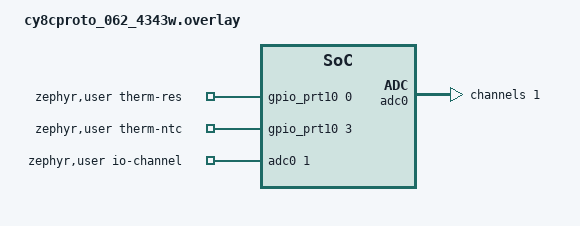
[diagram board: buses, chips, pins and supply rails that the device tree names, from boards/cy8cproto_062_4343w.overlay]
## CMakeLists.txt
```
# SPDX-License-Identifier: Apache-2.0

cmake_minimum_required(VERSION 3.20.0)

# Locates the Zephyr CMake package registered by `west zephyr-export`
# (or uses ZEPHYR_BASE, which west sets automatically during `west build`).
find_package(Zephyr REQUIRED HINTS $ENV{ZEPHYR_BASE})
project(rtos_blinky)

target_sources(app PRIVATE
  src/main.c
  src/thermistor.c
  src/app_settings.c
  src/app_watchdog.c
  src/channels.c
  src/led_ctrl.c
  src/temp_monitor.c
  src/ble_beacon.c
  src/capsense_input.c
)

# ---- CapSense -----------------------------------------------------------------
# Infineon CapSense middleware (Infineon EULA, not committed): cloned once into
# the west workspace's modules/ folder, next to the other fetched code.
set(CAPSENSE_VERSION release-v3.0.1)
get_filename_component(WEST_WORKSPACE ${ZEPHYR_BASE} DIRECTORY)
set(CAPSENSE_DIR ${WEST_WORKSPACE}/modules/lib/capsense)

if(NOT EXISTS ${CAPSENSE_DIR}/cy_capsense.h)
  message(STATUS "Fetching Infineon CapSense middleware ${CAPSENSE_VERSION}")
  execute_process(
    COMMAND git clone --depth 1 --branch ${CAPSENSE_VERSION}
            https://github.com/Infineon/capsense ${CAPSENSE_DIR}
    RESULT_VARIABLE capsense_clone_result)
  if(NOT capsense_clone_result EQUAL 0)
    message(FATAL_ERROR "Could not clone the CapSense middleware into ${CAPSENSE_DIR}")
  endif()
endif()

file(GLOB CAPSENSE_SOURCES ${CAPSENSE_DIR}/*.c)
set(CAPSENSE_THIRD_PARTY_SOURCES
  ${CAPSENSE_SOURCES}
  capsense/cycfg_capsense.c
  # PDL driver for the CSD hardware block; the HAL module doesn't build it.
  ${ZEPHYR_HAL_INFINEON_MODULE_DIR}/mtb-pdl-cat1/drivers/source/cy_csd.c
)
target_sources(app PRIVATE ${CAPSENSE_THIRD_PARTY_SOURCES})
target_include_directories(app PRIVATE capsense ${CAPSENSE_DIR})

# Closed-source parts (SmartSense auto-tuning, advanced filters). The SOFTFP
# build is plain Armv6-M code with no FPU instructions, matching our build.
zephyr_link_libraries(${CAPSENSE_DIR}/COMPONENT_SOFTFP/TOOLCHAIN_GCC_ARM/libcy_capsense.a)
```

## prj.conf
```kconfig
# Kconfig fragment: selects which kernel features/drivers get compiled in.
# Inspect the fully resolved config with: west build -t menuconfig

# GPIO driver for the LED and the user button
CONFIG_GPIO=y

# Logging subsystem (output goes to the console UART, COM port @ 115200 8N1)
CONFIG_LOG=y

# Give threads human-readable names (useful in logs and debuggers)
CONFIG_THREAD_NAME=y

# Interactive shell on the console UART. Adds built-in commands (help,
# kernel threads, kernel uptime, log, ...) plus our "blink" command.
# Log messages are routed through the shell so they don't break the prompt.
CONFIG_SHELL=y

# Hardware watchdog (fed by the blink thread)
CONFIG_WATCHDOG=y

# ADC driver for the onboard thermistor (channel defined in boards/*.overlay)
CONFIG_ADC=y

# Counter driver: TCPWM hardware timer that paces thermistor sampling
CONFIG_COUNTER=y

# zbus message bus: thermistor publishes on temp_chan, others observe.
# Names and publish counters are only for the "bus" shell command.
CONFIG_ZBUS=y
CONFIG_ZBUS_CHANNEL_NAME=y
CONFIG_ZBUS_OBSERVER_NAME=y
CONFIG_ZBUS_CHANNEL_PUBLISH_STATS=y

# State Machine Framework for the LED controller: hierarchical states
# (parent/child) and initial transitions into a parent's default child.
CONFIG_SMF=y
CONFIG_SMF_ANCESTOR_SUPPORT=y
CONFIG_SMF_INITIAL_TRANSITION=y

# Bluetooth LE host: broadcaster (beacon) + peripheral (one GATT connection).
# The board defaults pick the CYW4343W / Murata 1DX controller over HCI UART
# and embed its firmware patch.
CONFIG_BT=y
CONFIG_BT_BROADCASTER=y
CONFIG_BT_PERIPHERAL=y
CONFIG_BT_MAX_CONN=1
# GAP Device Name characteristic, read by phones after connecting
CONFIG_BT_DEVICE_NAME="PSoC6 Temp"
CONFIG_BT_CENTRAL=n
CONFIG_BT_OBSERVER=n

# Persistent settings: Settings subsystem -> ZMS -> flash map -> flash driver.
# PSoC 6 flash writes whole 512-byte rows, so ZMS needs a 512-byte internal
# block (default 32) and sectors of 8 rows (4 KB) to fit its bookkeeping.
CONFIG_FLASH=y
CONFIG_FLASH_MAP=y
CONFIG_ZMS=y
CONFIG_ZMS_CUSTOMIZE_BLOCK_SIZE=y
CONFIG_ZMS_CUSTOM_BLOCK_SIZE=512
CONFIG_SETTINGS=y
CONFIG_SETTINGS_ZMS=y
CONFIG_SETTINGS_ZMS_SECTOR_SIZE_MULT=8
# "settings list/read/write/delete" shell commands
CONFIG_SETTINGS_SHELL=y

# ZMS keeps 512-byte buffers on the stack of whichever thread calls it:
# main (settings_load), the system work queue (saves) and the shell.
CONFIG_MAIN_STACK_SIZE=2048
CONFIG_SYSTEM_WORKQUEUE_STACK_SIZE=2048
CONFIG_SHELL_STACK_SIZE=3072

# Emit the kernel-structure offsets table that OpenOCD's Zephyr RTOS
# awareness reads, so the debugger can list every thread and its stack.
CONFIG_DEBUG_THREAD_INFO=y
```

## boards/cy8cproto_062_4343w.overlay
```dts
/*
 * Board overlay for the CY8CPROTO-062-4343W: onboard thermistor (RT1) and a
 * flash partition for persistent settings.
 *
 * Kit guide schematic (Figure A-11):
 *
 *   P10.0 ---[ R39 10k ]---+---[ RT1 NTC 10k ]--- P10.3
 *                          |
 *                      THERM_OUT -> P10.1 (ADC0 channel 1)
 *
 * Both ends of the divider are GPIOs, so the app powers the divider only
 * while measuring and can swap its polarity (see src/thermistor.c).
 *
 * SPDX-License-Identifier: Apache-2.0
 */

#include <zephyr/dt-bindings/adc/adc.h>

/ {
	chosen {
		/* Where the Settings subsystem (ZMS backend) keeps its data. */
		zephyr,settings-partition = &storage_partition;
	};

	/* zephyr,user is a free-form node for application-specific properties. */
	zephyr,user {
		io-channels = <&adc0 1>;
		therm-res-gpios = <&gpio_prt10 0 GPIO_ACTIVE_HIGH>;
		therm-ntc-gpios = <&gpio_prt10 3 GPIO_ACTIVE_HIGH>;
		/* Hardware timer that paces thermistor sampling. */
		sample-counter = <&counter0_0>;
	};
};

/* TCPWM0 counter 0 (already enabled by the board): tick at 1 MHz so one
 * tick = 1 us. 32 bits at 1 MHz wraps after ~71 minutes, plenty for 1 s.
 */
&counter0_0 {
	clock-frequency = <1000000>;
};

/*
 * Last 32 KB of the 2 MB main flash, reserved for persistent settings.
 * (The separate 32 KB work flash at 0x14000000 isn't reachable: the Infineon
 * flash driver only exposes the first flash node.) Erase/write unit is a
 * 512-byte row, so 0x8000 = 64 rows.
 */
&flash0 {
	partitions {
		compatible = "fixed-partitions";
		#address-cells = <1>;
		#size-cells = <1>;

		storage_partition: partition@1f8000 {
			label = "storage";
			reg = <0x1f8000 DT_SIZE_K(32)>;
		};
	};
};

&gpio_prt10 {
	status = "okay";
};

&adc0 {
	status = "okay";
	#address-cells = <1>;
	#size-cells = <0>;

	/* The Infineon driver only supports gain 1, the internal reference and 12 bits. */
	channel@1 {
		reg = <1>;
		zephyr,gain = "ADC_GAIN_1";
		zephyr,reference = "ADC_REF_INTERNAL";
		zephyr,acquisition-time = <ADC_ACQ_TIME_DEFAULT>;
		zephyr,resolution = <12>;
		zephyr,input-positive = <1>; /* P10.1 */
	};
};
```

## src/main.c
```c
/*
 * RTOS blinky for the CY8CPROTO-062-4343W.
 *
 * Modules:
 * - led_ctrl.c:     LED state machine (SMF): temperature modes / manual mode.
 * - thermistor.c:   samples RT1 once per second (hardware counter) and
 *                   publishes on the zbus temp_chan.
 * - temp_monitor.c: zbus observers for logging and min/max/avg statistics.
 * - app_settings.c: blink period and thresholds persisted in flash.
 * - app_watchdog.c: hardware watchdog, fed by the LED thread.
 * - main.c (here):  startup, SW0 button thread and the "blink" shell command.
 *
 * SPDX-License-Identifier: Apache-2.0
 */

#include <errno.h>
#include <zephyr/kernel.h>
#include <zephyr/drivers/gpio.h>
#include <zephyr/logging/log.h>
#include <zephyr/shell/shell.h>

#include "app_settings.h"
#include "app_watchdog.h"
#include "led_ctrl.h"
#include "thermistor.h"

LOG_MODULE_REGISTER(rtos_blinky, LOG_LEVEL_INF);

/* Pins come from the board devicetree aliases, not hard-coded port/pin numbers. */
static const struct gpio_dt_spec button = GPIO_DT_SPEC_GET(DT_ALIAS(sw0), gpios);

#define BUTTON_PRIORITY 5 /* lower number = higher priority */
#define STACK_SIZE      1024
#define DEBOUNCE_MS     50

static const uint32_t preset_periods_ms[] = {500, 250, 100, 1000};

/* Binary semaphore (max count 1) used to signal "button pressed" from ISR to thread. */
static K_SEM_DEFINE(button_sem, 0, 1);
static struct gpio_callback button_cb_data;

static void button_isr(const struct device *dev, struct gpio_callback *cb, uint32_t pins)
{
	ARG_UNUSED(dev);
	ARG_UNUSED(cb);
	ARG_UNUSED(pins);

	/* Keep ISRs short: just wake the thread that does the real work. */
	k_sem_give(&button_sem);
}

static void button_thread(void *p1, void *p2, void *p3)
{
	ARG_UNUSED(p1);
	ARG_UNUSED(p2);
	ARG_UNUSED(p3);

	size_t idx = 0;

	while (true) {
		k_sem_take(&button_sem, K_FOREVER);

		/* Mechanical buttons bounce: wait, then confirm it is still pressed. */
		k_msleep(DEBOUNCE_MS);
		if (gpio_pin_get_dt(&button) == 1) {
			idx = (idx + 1) % ARRAY_SIZE(preset_periods_ms);
			LOG_INF("Button pressed -> requesting %u ms", preset_periods_ms[idx]);
			if (led_ctrl_request_period(preset_periods_ms[idx]) != 0) {
				LOG_WRN("LED event queue full, press ignored");
			}
		}

		/* Discard extra gives caused by bounce edges during the debounce window. */
		k_sem_reset(&button_sem);
	}
}

/* Created but not started (SYS_FOREVER_MS); main() starts it once the GPIO is set up. */
K_THREAD_DEFINE(button_tid, STACK_SIZE, button_thread, NULL, NULL, NULL,
		BUTTON_PRIORITY, 0, SYS_FOREVER_MS);

/* Shell handler: runs in the shell's own thread when "blink set <ms>" is entered. */
static int cmd_blink_set(const struct shell *sh, size_t argc, char **argv)
{
	ARG_UNUSED(argc); /* the shell already enforced exactly 1 argument */

	int err = 0;
	unsigned long period_ms = shell_strtoul(argv[1], 10, &err);

	if (err != 0 || period_ms < APP_PERIOD_MIN_MS || period_ms > APP_PERIOD_MAX_MS) {
		shell_error(sh, "Period must be a number from %d to %d (ms)",
			    APP_PERIOD_MIN_MS, APP_PERIOD_MAX_MS);
		return -EINVAL;
	}

	if (led_ctrl_request_period((uint32_t)period_ms) != 0) {
		shell_error(sh, "LED event queue full, try again");
		return -EBUSY;
	}

	return 0;
}

/*
 * Register "blink" as a root command with one subcommand, "set".
 * SHELL_CMD_ARG(..., 2, 0): 2 mandatory args (the "set" token + <ms>), 0 optional.
 */
SHELL_STATIC_SUBCMD_SET_CREATE(blink_cmds,
	SHELL_CMD_ARG(set, NULL, "Set the manual-mode blink period: blink set <ms>", cmd_blink_set, 2, 0),
	SHELL_SUBCMD_SET_END);
SHELL_CMD_REGISTER(blink, &blink_cmds, "Control the LED blink rate", NULL);

static int button_init(void)
{
	if (!gpio_is_ready_dt(&button)) {
		return -ENODEV;
	}

	int ret = gpio_pin_configure_dt(&button, GPIO_INPUT);

	if (ret == 0) {
		ret = gpio_pin_interrupt_configure_dt(&button, GPIO_INT_EDGE_TO_ACTIVE);
	}
	if (ret == 0) {
		gpio_init_callback(&button_cb_data, button_isr, BIT(button.pin));
		ret = gpio_add_callback(button.port, &button_cb_data);
	}
	if (ret == 0) {
		k_thread_start(button_tid);
	}
	return ret;
}

int main(void)
{
	int ret;

	LOG_INF("RTOS blinky on %s", CONFIG_BOARD);
	app_watchdog_report_reset_cause();

	/* Load saved settings before starting the threads that use them. */
	ret = app_settings_init();
	if (ret < 0) {
		LOG_ERR("Settings unavailable (%d), using defaults", ret);
	}

	/* Start the watchdog just before the thread that feeds it. */
	app_watchdog_start();
	ret = led_ctrl_start();
	if (ret < 0) {
		LOG_ERR("LED controller failed (%d)", ret);
	}

	ret = button_init();
	if (ret < 0) {
		LOG_ERR("Button setup failed (%d)", ret);
	}

	ret = thermistor_init();
	if (ret < 0) {
		LOG_ERR("Thermistor init failed (%d)", ret);
	}

	LOG_INF("Started. Try 'led', 'led mode manual', 'blink set <ms>', 'temp'.");

	/* Returning from main() just ends the main thread; the others keep running. */
	return 0;
}
```

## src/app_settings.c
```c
/*
 * Persistent application settings.
 *
 * Keys live under the "app/" subtree: app/period, app/cold, app/hot.
 * Backend: ZMS on the storage_partition (see boards/cy8cproto_062_4343w.overlay).
 *
 * SPDX-License-Identifier: Apache-2.0
 */

#include <errno.h>
#include <stdlib.h>
#include <zephyr/kernel.h>
#include <zephyr/logging/log.h>
#include <zephyr/settings/settings.h>
#include <zephyr/sys/atomic.h>

#include "app_settings.h"

LOG_MODULE_REGISTER(app_settings, LOG_LEVEL_INF);

#define DEFAULT_PERIOD_MS   500
#define DEFAULT_COLD_CENTI  1800
#define DEFAULT_HOT_CENTI   2800
#define TEMP_MIN_CENTI      (-2000)
#define TEMP_MAX_CENTI      8000
#define MIN_GAP_CENTI       200 /* keeps cold/hot apart by more than the hysteresis */
#define SAVE_DELAY          K_SECONDS(2)

/* Read by several threads, written by setters and the loader: atomics, no lock needed. */
static atomic_t period_ms = ATOMIC_INIT(DEFAULT_PERIOD_MS);
static atomic_t cold_centi = ATOMIC_INIT(DEFAULT_COLD_CENTI);
static atomic_t hot_centi = ATOMIC_INIT(DEFAULT_HOT_CENTI);

enum { DIRTY_PERIOD, DIRTY_THRESHOLDS };
static atomic_t dirty;

static bool period_valid(uint32_t v)
{
	return v >= APP_PERIOD_MIN_MS && v <= APP_PERIOD_MAX_MS;
}

static bool thresholds_valid(int32_t cold, int32_t hot)
{
	return cold >= TEMP_MIN_CENTI && hot <= TEMP_MAX_CENTI && hot - cold >= MIN_GAP_CENTI;
}

/*
 * Called by settings_load() once per stored key in the "app" subtree.
 * `name` is the key with the "app/" prefix already removed.
 */
static int app_settings_set(const char *name, size_t len, settings_read_cb read_cb, void *cb_arg)
{
	const char *next;
	int32_t value;
	int rc;

	if (len != sizeof(value)) {
		return -EINVAL;
	}
	rc = read_cb(cb_arg, &value, sizeof(value));
	if (rc < 0) {
		return rc;
	}

	if (settings_name_steq(name, "period", &next) && !next) {
		if (period_valid((uint32_t)value)) {
			atomic_set(&period_ms, value);
		}
	} else if (settings_name_steq(name, "cold", &next) && !next) {
		atomic_set(&cold_centi, value);
	} else if (settings_name_steq(name, "hot", &next) && !next) {
		atomic_set(&hot_centi, value);
	} else {
		return -ENOENT;
	}
	return 0;
}

/* Registers the "app" subtree handler at build time (no runtime call needed). */
SETTINGS_STATIC_HANDLER_DEFINE(app, "app", NULL, app_settings_set, NULL, NULL);

/* Runs on the system work queue: the only place that writes flash. */
static void save_work_handler(struct k_work *work)
{
	ARG_UNUSED(work);
	int rc = 0;

	if (atomic_test_and_clear_bit(&dirty, DIRTY_PERIOD)) {
		int32_t v = atomic_get(&period_ms);

		rc = settings_save_one("app/period", &v, sizeof(v));
	}
	if (rc == 0 && atomic_test_and_clear_bit(&dirty, DIRTY_THRESHOLDS)) {
		int32_t cold = atomic_get(&cold_centi);
		int32_t hot = atomic_get(&hot_centi);

		rc = settings_save_one("app/cold", &cold, sizeof(cold));
		if (rc == 0) {
			rc = settings_save_one("app/hot", &hot, sizeof(hot));
		}
	}

	if (rc != 0) {
		LOG_ERR("Saving settings failed (%d)", rc);
	} else {
		LOG_INF("Settings saved");
	}
}

static K_WORK_DELAYABLE_DEFINE(save_work, save_work_handler);

static void schedule_save(int dirty_bit)
{
	atomic_set_bit(&dirty, dirty_bit);
	/* Reschedule (not schedule): every new change pushes the save out again. */
	k_work_reschedule(&save_work, SAVE_DELAY);
}

int app_settings_init(void)
{
	int rc = settings_subsys_init();

	if (rc != 0) {
		LOG_ERR("Settings init failed (%d)", rc);
		return rc;
	}

	rc = settings_load_subtree("app");
	if (rc != 0) {
		LOG_ERR("Settings load failed (%d)", rc);
		return rc;
	}

	if (!thresholds_valid(atomic_get(&cold_centi), atomic_get(&hot_centi))) {
		LOG_WRN("Stored thresholds invalid, using defaults");
		atomic_set(&cold_centi, DEFAULT_COLD_CENTI);
		atomic_set(&hot_centi, DEFAULT_HOT_CENTI);
	}

	LOG_INF("Loaded: period %u ms, cold %d.%02d C, hot %d.%02d C",
		(uint32_t)atomic_get(&period_ms), (int)atomic_get(&cold_centi) / 100,
		abs((int)atomic_get(&cold_centi)) % 100, (int)atomic_get(&hot_centi) / 100,
		abs((int)atomic_get(&hot_centi)) % 100);
	return 0;
}

uint32_t app_settings_period_ms(void)
{
	return (uint32_t)atomic_get(&period_ms);
}

int32_t app_settings_cold_centi(void)
{
	return (int32_t)atomic_get(&cold_centi);
}

int32_t app_settings_hot_centi(void)
{
	return (int32_t)atomic_get(&hot_centi);
}

int app_settings_set_period_ms(uint32_t v)
{
	if (!period_valid(v)) {
		return -EINVAL;
	}
	if ((uint32_t)atomic_set(&period_ms, v) != v) {
		schedule_save(DIRTY_PERIOD);
	}
	return 0;
}

int app_settings_set_thresholds_centi(int32_t cold, int32_t hot)
{
	if (!thresholds_valid(cold, hot)) {
		return -EINVAL;
	}
	atomic_set(&cold_centi, cold);
	atomic_set(&hot_centi, hot);
	schedule_save(DIRTY_THRESHOLDS);
	return 0;
}
```

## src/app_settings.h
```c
/*
 * Persistent application settings (blink period, temperature thresholds),
 * stored in flash through the Zephyr Settings subsystem.
 *
 * SPDX-License-Identifier: Apache-2.0
 */

#ifndef APP_SETTINGS_H_
#define APP_SETTINGS_H_

#include <stdint.h>

#define APP_PERIOD_MIN_MS 10
/* The blink thread feeds the watchdog once per loop, so its longest wait
 * (one blink period) must stay well below the watchdog timeout.
 */
#define APP_PERIOD_MAX_MS 2000

/** Initialize the Settings subsystem and load saved values (or defaults). */
int app_settings_init(void);

uint32_t app_settings_period_ms(void);
/** Thresholds in hundredths of a degree C (1800 = 18.00 C). */
int32_t app_settings_cold_centi(void);
int32_t app_settings_hot_centi(void);

/*
 * Setters update the value immediately and schedule a save a couple of
 * seconds later, so a burst of changes costs a single flash write.
 */
int app_settings_set_period_ms(uint32_t period_ms);
int app_settings_set_thresholds_centi(int32_t cold, int32_t hot);

#endif /* APP_SETTINGS_H_ */
```

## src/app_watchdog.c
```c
/*
 * Hardware watchdog and reset-cause reporting.
 *
 * SPDX-License-Identifier: Apache-2.0
 */

#include <zephyr/kernel.h>
#include <zephyr/drivers/watchdog.h>
#include <zephyr/logging/log.h>
#include <cmsis_core.h>
#include <cy_syslib.h>

#include "app_watchdog.h"

LOG_MODULE_REGISTER(app_watchdog, LOG_LEVEL_INF);

static const struct device *const wdt = DEVICE_DT_GET(DT_ALIAS(watchdog0));
static int wdt_channel = -1; /* -1: watchdog not running */

void app_watchdog_report_reset_cause(void)
{
	/* Zephyr's hwinfo reset-cause API isn't implemented for PSoC 6 in this tree,
	 * so read the SRSS reset-cause register through the Infineon PDL directly.
	 */
	uint32_t reason = Cy_SysLib_GetResetReason();

	if (reason & CY_SYSLIB_RESET_HWWDT) {
		LOG_WRN("Last reset was caused by the WATCHDOG");
	} else {
		LOG_INF("Reset cause: 0x%08x", reason);
	}
	/* Clear it so the next boot reports its own cause, not this one. */
	Cy_SysLib_ClearResetReason();
}

void app_watchdog_start(void)
{
	/* The PSoC 6 WDT keeps counting while the CPU is halted at a breakpoint,
	 * so leave it off while debug is enabled (DHCSR.C_DEBUGEN). Only the
	 * debugger can set this bit and software can't clear it; a soft reset
	 * (e.g. after flashing) keeps it, an XRES (RESET button) or power cycle clears it.
	 */
	if (DCB->DHCSR & DCB_DHCSR_C_DEBUGEN_Msk) {
		LOG_WRN("Debug enabled: watchdog not started. Press RESET (SW1) to arm it.");
		return;
	}

	if (!device_is_ready(wdt)) {
		LOG_ERR("Watchdog device not ready");
		return;
	}

	const struct wdt_timeout_cfg cfg = {
		.window.max = APP_WDT_TIMEOUT_MS,
		.flags = WDT_FLAG_RESET_SOC,
	};
	int channel = wdt_install_timeout(wdt, &cfg);

	if (channel < 0) {
		LOG_ERR("Watchdog install failed (%d)", channel);
		return;
	}

	int ret = wdt_setup(wdt, 0);

	if (ret < 0) {
		LOG_ERR("Watchdog setup failed (%d)", ret);
		return;
	}

	wdt_channel = channel;
	LOG_INF("Watchdog started (%d ms timeout)", APP_WDT_TIMEOUT_MS);
}

void app_watchdog_feed(void)
{
	if (wdt_channel >= 0) {
		wdt_feed(wdt, wdt_channel);
	}
}
```

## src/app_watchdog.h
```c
/*
 * Hardware watchdog and reset-cause reporting.
 *
 * SPDX-License-Identifier: Apache-2.0
 */

#ifndef APP_WATCHDOG_H_
#define APP_WATCHDOG_H_

#define APP_WDT_TIMEOUT_MS 4000

/** Log why the chip last reset (e.g. watchdog), then clear the cause. */
void app_watchdog_report_reset_cause(void);

/** Start the watchdog unless a debugger has enabled debug mode. */
void app_watchdog_start(void);

/** Feed the watchdog. A no-op if it isn't running. */
void app_watchdog_feed(void);

#endif /* APP_WATCHDOG_H_ */
```

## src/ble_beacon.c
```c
/*
 * BLE temperature beacon + GATT Environmental Sensing service on the CYW4343W
 * radio (Murata 1DX module).
 *
 * The PSoC 6 runs the Zephyr Bluetooth host; the CYW4343W is the controller,
 * connected over UART2 using the HCI H4 protocol. bt_enable() first downloads
 * the controller firmware patch (bt_firmware.hcd, embedded in our image).
 *
 * Advertising: connectable, legacy, ~100-150 ms interval, containing
 *   - Complete Local Name "PSoC6 21.34C" (readable straight from a scanner list)
 *   - Service Data for Environmental Sensing (0x181A): sint16 temperature in
 *     0.01 C, the same encoding as the GATT Temperature characteristic (0x2A6E)
 *
 * GATT (after connecting): Environmental Sensing service with a Temperature
 * characteristic (read + notify). Apps such as nRF Connect know this
 * standard characteristic and show it decoded in degrees C.
 * A custom LED service adds the current blink period (uint16, ms) and a text
 * status, both notified whenever the LED controller publishes on led_chan.
 *
 * Only one connection is allowed. Connectable advertising stops when a
 * central connects; this thread restarts it after the disconnect.
 *
 * SPDX-License-Identifier: Apache-2.0
 */

#include <string.h>
#include <zephyr/kernel.h>
#include <zephyr/bluetooth/bluetooth.h>
#include <zephyr/bluetooth/conn.h>
#include <zephyr/bluetooth/gap.h>
#include <zephyr/bluetooth/gatt.h>
#include <zephyr/bluetooth/uuid.h>
#include <zephyr/logging/log.h>
#include <zephyr/shell/shell.h>
#include <zephyr/sys/byteorder.h>
#include <zephyr/zbus/zbus.h>

#include "channels.h"

LOG_MODULE_REGISTER(ble_beacon, LOG_LEVEL_INF);

#define BLE_PRIORITY   9
#define BLE_STACK_SIZE 2048
#define NAME_PREFIX    "PSoC6"
#define TEMP_UNKNOWN   ((int16_t)0x8000) /* "value not known" for 0x2A6E */

/* Service data payload: 16-bit UUID (little endian) followed by the value. */
static uint8_t svc_data[4] = {BT_UUID_16_ENCODE(BT_UUID_ESS_VAL), 0x00, 0x00};
/* Sized for the worst case the compiler can see; the real name is <= 13 chars,
 * well within the 31-byte legacy advertising payload.
 */
static char name[32];

/* Not const: the name length changes with every update. */
static struct bt_data ad[] = {
	BT_DATA_BYTES(BT_DATA_FLAGS, (BT_LE_AD_GENERAL | BT_LE_AD_NO_BREDR)),
	BT_DATA(BT_DATA_NAME_COMPLETE, name, 0),
	BT_DATA(BT_DATA_SVC_DATA16, svc_data, sizeof(svc_data)),
};

/* Connectable, from the public (identity) address so nRF Connect shows the same
 * device after every reboot. 0xa0-0xf0 units of 0.625 ms = 100-150 ms.
 */
static const struct bt_le_adv_param *const adv_param =
	BT_LE_ADV_PARAM(BT_LE_ADV_OPT_CONN | BT_LE_ADV_OPT_USE_IDENTITY,
			BT_GAP_ADV_FAST_INT_MIN_2, BT_GAP_ADV_FAST_INT_MAX_2, NULL);

/*
 * Subscriber, not listener: bt_le_adv_update_data() sends HCI commands and
 * blocks for the controller's reply, which must not happen inside the
 * publisher (the system work queue). Starts disabled so its queue doesn't
 * fill up while bt_enable() is still downloading firmware.
 */
ZBUS_SUBSCRIBER_DEFINE_WITH_ENABLE(ble_sub, 4, false);
ZBUS_CHAN_ADD_OBS(temp_chan, ble_sub, 4);
/* LED status changes (mode, state, slider) are pushed out as GATT notifications. */
ZBUS_CHAN_ADD_OBS(led_chan, ble_sub, 1);

static atomic_t adv_updates;
static atomic_t adv_running;
static atomic_t adv_centi = ATOMIC_INIT(INT32_MIN);
static atomic_t connected;
static atomic_t notify_enabled;
static atomic_t notifications_sent;
static atomic_t period_notify_enabled;
static atomic_t status_notify_enabled;

/* ---- GATT: Environmental Sensing service --------------------------------- */

/* Current Temperature characteristic value, little endian sint16, 0.01 C. */
static int16_t gatt_temp = TEMP_UNKNOWN;

static ssize_t read_temp(struct bt_conn *conn, const struct bt_gatt_attr *attr, void *buf,
			 uint16_t len, uint16_t offset)
{
	uint8_t le[2];

	sys_put_le16((uint16_t)gatt_temp, le);
	return bt_gatt_attr_read(conn, attr, buf, len, offset, le, sizeof(le));
}

/* The phone wrote the CCC descriptor: notifications switched on or off. */
static void temp_ccc_changed(const struct bt_gatt_attr *attr, uint16_t value)
{
	ARG_UNUSED(attr);
	bool on = value == BT_GATT_CCC_NOTIFY;

	atomic_set(&notify_enabled, on);
	LOG_INF("Temperature notifications %s", on ? "enabled" : "disabled");
}

/*
 * Attribute table, in order:
 *   [0] primary service declaration (0x181A)
 *   [1] characteristic declaration
 *   [2] characteristic value (0x2A6E)   <- notified
 *   [3] Client Characteristic Configuration descriptor (enables notify)
 */
BT_GATT_SERVICE_DEFINE(ess_svc,
	BT_GATT_PRIMARY_SERVICE(BT_UUID_ESS),
	BT_GATT_CHARACTERISTIC(BT_UUID_TEMPERATURE, BT_GATT_CHRC_READ | BT_GATT_CHRC_NOTIFY,
			       BT_GATT_PERM_READ, read_temp, NULL, NULL),
	BT_GATT_CCC(temp_ccc_changed, BT_GATT_PERM_READ | BT_GATT_PERM_WRITE),
);

#define TEMP_VALUE_ATTR (&ess_svc.attrs[2])

/* ---- GATT: custom LED service --------------------------------------------- */

/*
 * There's no standard Bluetooth service for "LED blink period", so it gets
 * its own random 128-bit UUIDs (base a5c4xxxx-6d4b-4b1e-9b8d-2f7a1c3e5d00).
 */
#define LED_UUID(n) BT_UUID_128_ENCODE(0xa5c40000 + (n), 0x6d4b, 0x4b1e, 0x9b8d, 0x2f7a1c3e5d00)

static const struct bt_uuid_128 led_svc_uuid = BT_UUID_INIT_128(LED_UUID(1));
static const struct bt_uuid_128 led_period_uuid = BT_UUID_INIT_128(LED_UUID(2));
static const struct bt_uuid_128 led_status_uuid = BT_UUID_INIT_128(LED_UUID(3));

/* Current blink interval in ms (0 = solid on) and a human-readable summary.
 * 20 bytes fits a notification at the default ATT MTU (23).
 */
static uint16_t gatt_period_ms;
static char gatt_status[20] = "?";

/* Characteristic Presentation Format: unsigned 16-bit, unit seconds x 10^-3. */
static const struct bt_gatt_cpf period_cpf = {
	.format = 0x06,        /* uint16 */
	.exponent = -3,
	.unit = 0x2703,        /* org.bluetooth.unit.time.second */
	.name_space = 0x01,    /* Bluetooth SIG */
	.description = 0x0000, /* unknown */
};

static ssize_t read_period(struct bt_conn *conn, const struct bt_gatt_attr *attr, void *buf,
			   uint16_t len, uint16_t offset)
{
	uint8_t le[2];

	sys_put_le16(gatt_period_ms, le);
	return bt_gatt_attr_read(conn, attr, buf, len, offset, le, sizeof(le));
}

static ssize_t read_status(struct bt_conn *conn, const struct bt_gatt_attr *attr, void *buf,
			   uint16_t len, uint16_t offset)
{
	return bt_gatt_attr_read(conn, attr, buf, len, offset, gatt_status, strlen(gatt_status));
}

static void period_ccc_changed(const struct bt_gatt_attr *attr, uint16_t value)
{
	ARG_UNUSED(attr);
	atomic_set(&period_notify_enabled, value == BT_GATT_CCC_NOTIFY);
	LOG_INF("Blink period notifications %s", value == BT_GATT_CCC_NOTIFY ? "on" : "off");
}

static void status_ccc_changed(const struct bt_gatt_attr *attr, uint16_t value)
{
	ARG_UNUSED(attr);
	atomic_set(&status_notify_enabled, value == BT_GATT_CCC_NOTIFY);
	LOG_INF("LED status notifications %s", value == BT_GATT_CCC_NOTIFY ? "on" : "off");
}

/*
 *   [0] primary service      [5] presentation format
 *   [1] period declaration   [6] status declaration
 *   [2] period value         [7] status value      <- notified
 *   [3] period CCC           [8] status CCC
 *   [4] period description   [9] status description
 */
BT_GATT_SERVICE_DEFINE(led_svc,
	BT_GATT_PRIMARY_SERVICE(&led_svc_uuid),
	BT_GATT_CHARACTERISTIC(&led_period_uuid.uuid, BT_GATT_CHRC_READ | BT_GATT_CHRC_NOTIFY,
			       BT_GATT_PERM_READ, read_period, NULL, NULL),
	BT_GATT_CCC(period_ccc_changed, BT_GATT_PERM_READ | BT_GATT_PERM_WRITE),
	BT_GATT_CUD("Blink period (ms)", BT_GATT_PERM_READ),
	BT_GATT_CPF(&period_cpf),
	BT_GATT_CHARACTERISTIC(&led_status_uuid.uuid, BT_GATT_CHRC_READ | BT_GATT_CHRC_NOTIFY,
			       BT_GATT_PERM_READ, read_status, NULL, NULL),
	BT_GATT_CCC(status_ccc_changed, BT_GATT_PERM_READ | BT_GATT_PERM_WRITE),
	BT_GATT_CUD("LED status", BT_GATT_PERM_READ),
);

#define PERIOD_VALUE_ATTR (&led_svc.attrs[2])
#define STATUS_VALUE_ATTR (&led_svc.attrs[7])

static void update_led_values(const struct led_msg *m)
{
	gatt_period_ms = (uint16_t)MIN(m->blink_ms, UINT16_MAX);
	/* Worst case "MANUAL 65535 ms" = 15 chars: always fits in 20. */
	if (m->blink_ms) {
		snprintk(gatt_status, sizeof(gatt_status), "%.7s %u ms", m->state, gatt_period_ms);
	} else {
		snprintk(gatt_status, sizeof(gatt_status), "%.7s solid", m->state);
	}
}

static void notify_led_values(void)
{
	if (!atomic_get(&connected)) {
		return;
	}
	if (atomic_get(&period_notify_enabled)) {
		uint8_t le[2];

		sys_put_le16(gatt_period_ms, le);
		if (bt_gatt_notify(NULL, PERIOD_VALUE_ATTR, le, sizeof(le)) == 0) {
			atomic_inc(&notifications_sent);
		}
	}
	if (atomic_get(&status_notify_enabled)) {
		if (bt_gatt_notify(NULL, STATUS_VALUE_ATTR, gatt_status, strlen(gatt_status)) == 0) {
			atomic_inc(&notifications_sent);
		}
	}
}

/* ---- Connection callbacks (run in the Bluetooth RX thread) --------------- */

static void on_connected(struct bt_conn *conn, uint8_t err)
{
	char addr[BT_ADDR_LE_STR_LEN];

	bt_addr_le_to_str(bt_conn_get_dst(conn), addr, sizeof(addr));
	if (err != 0) {
		LOG_WRN("Connection from %s failed (0x%02x)", addr, err);
		atomic_set(&adv_running, 0);
		return;
	}
	/* Legacy connectable advertising stops once a central connects. */
	atomic_set(&adv_running, 0);
	atomic_set(&connected, 1);
	LOG_INF("Connected: %s", addr);
}

static void on_disconnected(struct bt_conn *conn, uint8_t reason)
{
	ARG_UNUSED(conn);
	atomic_set(&connected, 0);
	atomic_set(&notify_enabled, 0);
	atomic_set(&period_notify_enabled, 0);
	atomic_set(&status_notify_enabled, 0);
	LOG_INF("Disconnected (reason 0x%02x), advertising resumes with the next sample",
		reason);
}

BT_CONN_CB_DEFINE(conn_callbacks) = {
	.connected = on_connected,
	.disconnected = on_disconnected,
};

/* ---- Advertising ---------------------------------------------------------- */

static void fill_payload(int32_t centi_c, bool valid)
{
	int16_t v = valid ? (int16_t)CLAMP(centi_c, INT16_MIN + 1, INT16_MAX) : TEMP_UNKNOWN;

	sys_put_le16((uint16_t)v, &svc_data[2]);
	gatt_temp = v;
	if (valid) {
		snprintk(name, sizeof(name), NAME_PREFIX " " CENTI_FMT "C", CENTI_ARGS(centi_c));
	} else {
		snprintk(name, sizeof(name), NAME_PREFIX " --C");
	}
	ad[1].data_len = strlen(name);
	atomic_set(&adv_centi, valid ? centi_c : INT32_MIN);
}

/* Start advertising if it isn't running and nobody is connected. */
static void ensure_advertising(void)
{
	static int last_err;

	if (atomic_get(&adv_running) || atomic_get(&connected)) {
		return;
	}

	int err = bt_le_adv_start(adv_param, ad, ARRAY_SIZE(ad), NULL, 0);

	if (err == 0) {
		atomic_set(&adv_running, 1);
		LOG_INF("Advertising as \"%s\"", name);
	} else if (err != last_err) {
		/* e.g. -ENOMEM right after a disconnect, until the connection object is
		 * freed; the next sample retries.
		 */
		LOG_WRN("Advertising start failed (%d), will retry", err);
	}
	last_err = err;
}

static void ble_thread(void *p1, void *p2, void *p3)
{
	ARG_UNUSED(p1);
	ARG_UNUSED(p2);
	ARG_UNUSED(p3);

	const struct zbus_channel *chan;
	struct temp_msg m;
	int64_t t0 = k_uptime_get();

	/* Synchronous: resets the controller, downloads its firmware, reads its features. */
	int err = bt_enable(NULL);

	if (err != 0) {
		LOG_ERR("Bluetooth init failed (%d)", err);
		return;
	}
	LOG_INF("Bluetooth ready in %lld ms", k_uptime_get() - t0);

	/* Start with the latest reading, if there is one. */
	bool have = zbus_chan_read(&temp_chan, &m, K_MSEC(100)) == 0 && m.seq != 0;

	fill_payload(m.centi_c, have);
	ensure_advertising();

	bt_addr_le_t addr;
	size_t count = 1;
	char addr_str[BT_ADDR_LE_STR_LEN];

	bt_id_get(&addr, &count);
	bt_addr_le_to_str(&addr, addr_str, sizeof(addr_str));
	LOG_INF("Bluetooth address %s", addr_str);

	/* Now start receiving temperature and LED notifications. */
	struct led_msg led;

	if (zbus_chan_read(&led_chan, &led, K_MSEC(100)) == 0) {
		update_led_values(&led);
	}
	zbus_obs_set_enable(&ble_sub, true);

	/* One pass per temperature sample (~1 s) or LED status change. */
	while (zbus_sub_wait(&ble_sub, &chan, K_FOREVER) == 0) {
		if (chan == &led_chan) {
			if (zbus_chan_read(&led_chan, &led, K_MSEC(100)) == 0) {
				update_led_values(&led);
				notify_led_values();
			}
			continue;
		}

		if (zbus_chan_read(&temp_chan, &m, K_MSEC(100)) != 0) {
			continue;
		}
		fill_payload(m.centi_c, true);

		if (atomic_get(&connected) && atomic_get(&notify_enabled)) {
			uint8_t le[2];

			sys_put_le16((uint16_t)gatt_temp, le);
			/* NULL conn = every connected peer that enabled notifications. */
			if (bt_gatt_notify(NULL, TEMP_VALUE_ATTR, le, sizeof(le)) == 0) {
				atomic_inc(&notifications_sent);
			}
		}

		if (atomic_get(&adv_running)) {
			err = bt_le_adv_update_data(ad, ARRAY_SIZE(ad), NULL, 0);
			if (err == 0) {
				atomic_inc(&adv_updates);
			} else {
				LOG_WRN("Advertising update failed (%d)", err);
			}
		} else {
			ensure_advertising();
		}
	}
}

K_THREAD_DEFINE(ble_tid, BLE_STACK_SIZE, ble_thread, NULL, NULL, NULL, BLE_PRIORITY, 0, 0);

static int cmd_ble(const struct shell *sh, size_t argc, char **argv)
{
	ARG_UNUSED(argc);
	ARG_UNUSED(argv);

	bt_addr_le_t addr;
	size_t count = 1;
	char addr_str[BT_ADDR_LE_STR_LEN];
	int32_t c = (int32_t)atomic_get(&adv_centi);

	bt_id_get(&addr, &count);
	if (count == 0) {
		shell_print(sh, "Bluetooth not ready (yet)");
		return 0;
	}
	bt_addr_le_to_str(&addr, addr_str, sizeof(addr_str));
	shell_print(sh, "Address %s: %s, %s", addr_str,
		    atomic_get(&adv_running) ? "advertising" : "not advertising",
		    atomic_get(&connected) ? "connected" : "no connection");
	shell_print(sh, "%u advertising updates, %u notifications (notify %s)",
		    (uint32_t)atomic_get(&adv_updates), (uint32_t)atomic_get(&notifications_sent),
		    atomic_get(&notify_enabled) ? "on" : "off");
	if (c != INT32_MIN) {
		shell_print(sh, "Payload: name \"" NAME_PREFIX " " CENTI_FMT "C\", ESS 0x181A "
			    "temp 0x%04x (%d x 0.01 C)", CENTI_ARGS(c), (uint16_t)(int16_t)c, c);
	}
	shell_print(sh, "LED service: period %u ms, status \"%s\"", gatt_period_ms, gatt_status);
	return 0;
}

SHELL_CMD_REGISTER(ble, NULL, "Show BLE beacon/GATT status", cmd_ble);
```

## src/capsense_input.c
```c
/*
 * CapSense buttons and slider -> LED controller.
 *
 *   BTN0 (CSX)  : LED follows the temperature   (led mode temp)
 *   BTN1 (CSX)  : LED blinks at the user period (led mode manual)
 *   Slider (CSD): sets the manual-mode blink rate, 0.5 Hz (left) .. 10 Hz
 *                 (right); ignored in temperature mode
 *
 * Infineon's CapSense middleware does the sensing; this file replaces the
 * ModusToolbox BSP init (clock divider, pins, interrupt) with Zephyr code:
 *
 *   capsense thread: start scan -> wait for end-of-scan semaphore (given from
 *   the CSD interrupt) -> process -> act on changes -> sleep -> repeat.
 *
 * SPDX-License-Identifier: Apache-2.0
 */

#include <errno.h>
#include <stdlib.h>
#include <zephyr/kernel.h>
#include <zephyr/init.h>
#include <zephyr/irq.h>
#include <zephyr/logging/log.h>
#include <zephyr/shell/shell.h>

#include <cy_gpio.h>
#include <cyhal_hwmgr.h>

#include "cycfg_capsense.h"
#include "app_settings.h"
#include "channels.h"
#include "led_ctrl.h"

LOG_MODULE_REGISTER(capsense, LOG_LEVEL_INF);

/* Below the control threads (LED 7, BLE 9, stats 10) but above shell/logging:
 * the middleware's calibration busy-waits, which must never starve the LED
 * thread (it feeds the watchdog). Scanning itself sleeps on a semaphore.
 */
#define CS_PRIORITY       12
#define CS_STACK_SIZE     2048
#define CS_SCAN_PERIOD_MS 20  /* 50 scans per second */
#define CS_IRQ_PRIORITY   3

#define SLIDER_MAX        300 /* xResolution from the generated configuration */
#define FREQ_MIN_MHZ      500 /* 0.5 Hz toggle rate at the left end */
#define FREQ_MAX_MHZ      10000
#define PERIOD_CHANGE_PCT 3   /* only send a new period if it moved by >= 3 % */

/* CSD driver context (the BSP's cycfg_peripherals.c used to provide it). */
cy_stc_csd_context_t cy_csd_0_context = {
	.lockKey = CY_CSD_NONE_KEY,
};

/* ---- Clock divider reservation ------------------------------------------- */

static cy_rslt_t div_reserve_rslt;

/*
 * Runs before any driver initializes (PRE_KERNEL_1, priority 0), so the HAL's
 * resource manager never hands our divider to the UART, timer or ADC.
 */
static int capsense_reserve_divider(void)
{
	static const cyhal_resource_inst_t div = {
		.type = CYHAL_RSC_CLOCK,
		.block_num = CYHAL_CLOCK_BLOCK_PERIPHERAL_8BIT,
		.channel_num = CY_CAPSENSE_PERI_DIV_INDEX,
	};

	div_reserve_rslt = cyhal_hwmgr_reserve(&div);
	return 0;
}

SYS_INIT(capsense_reserve_divider, PRE_KERNEL_1, 0);

/* ---- Interrupt and end-of-scan signalling ---------------------------------- */

static K_SEM_DEFINE(scan_done, 0, 1);

/* CSD interrupt: the middleware advances to the next sensor, or finishes. */
static void csd_isr(const void *arg)
{
	ARG_UNUSED(arg);
	Cy_CapSense_InterruptHandler(CYBSP_CSD_HW, &cy_capsense_context);
}

/* Called by the middleware from the ISR when every widget has been scanned. */
static void end_of_scan_cb(cy_stc_active_scan_sns_t *active)
{
	ARG_UNUSED(active);
	k_sem_give(&scan_done);
}

/* ---- Hardware setup ---------------------------------------------------------- */

struct cs_pin {
	GPIO_PRT_Type *port;
	uint8_t pin;
};

static const struct cs_pin cs_pins[] = {
	{Cmod_PORT, Cmod_PIN},
	{CintA_PORT, CintA_PIN},
	{CintB_PORT, CintB_PIN},
	{Button0_Tx_PORT, Button0_Tx_PIN},
	{Button0_Rx0_PORT, Button0_Rx0_PIN},
	{Button1_Rx0_PORT, Button1_Rx0_PIN},
	{LinearSlider0_Sns0_PORT, LinearSlider0_Sns0_PIN},
	{LinearSlider0_Sns1_PORT, LinearSlider0_Sns1_PIN},
	{LinearSlider0_Sns2_PORT, LinearSlider0_Sns2_PIN},
	{LinearSlider0_Sns3_PORT, LinearSlider0_Sns3_PIN},
	{LinearSlider0_Sns4_PORT, LinearSlider0_Sns4_PIN},
};

static int capsense_hw_init(void)
{
	cy_capsense_status_t st;

	if (div_reserve_rslt != CY_RSLT_SUCCESS) {
		LOG_ERR("Clock divider 8-bit #%u already in use (0x%08x)",
			CY_CAPSENSE_PERI_DIV_INDEX, (unsigned int)div_reserve_rslt);
		return -EBUSY;
	}

	/* Same as the BSP's init_cycfg_pins(): sensor and capacitor pins analog. */
	for (size_t i = 0; i < ARRAY_SIZE(cs_pins); i++) {
		Cy_GPIO_Pin_FastInit(cs_pins[i].port, cs_pins[i].pin, CY_GPIO_DM_ANALOG, 0,
				     HSIOM_SEL_GPIO);
	}

	/*
	 * Same as the BSP's init_cycfg_routing(): the analog mux buses (AMUXBUS A
	 * and B) are split into segments between port groups. Close splitters 2
	 * and 4 so the CSD block, Cmod/CintA/CintB (port 7) and the sensors
	 * (ports 1 and 8) are on one bus. Without this, Cmod never charges and
	 * Cy_CapSense_Enable() spins forever in its calibration.
	 */
	static const uint32_t split_closed = HSIOM_V2_AMUX_SPLIT_CTL_SWITCH_AA_SL_Msk |
					     HSIOM_V2_AMUX_SPLIT_CTL_SWITCH_AA_SR_Msk |
					     HSIOM_V2_AMUX_SPLIT_CTL_SWITCH_BB_SL_Msk |
					     HSIOM_V2_AMUX_SPLIT_CTL_SWITCH_BB_SR_Msk;

	HSIOM->AMUX_SPLIT_CTL[2] = split_closed;
	HSIOM->AMUX_SPLIT_CTL[4] = split_closed;

	/* Route the divider to the CSD block; the middleware sets its value. */
	Cy_SysClk_PeriphAssignDivider(PCLK_CSD_CLOCK, CY_CAPSENSE_PERI_DIV_TYPE,
				      CY_CAPSENSE_PERI_DIV_INDEX);

	st = Cy_CapSense_Init(&cy_capsense_context);
	if (st != CY_CAPSENSE_STATUS_SUCCESS) {
		LOG_ERR("Cy_CapSense_Init failed (0x%08x)", (unsigned int)st);
		return -EIO;
	}

	/* Zephyr's equivalent of Cy_SysInt_Init(): register and enable the ISR. */
	IRQ_CONNECT(csd_interrupt_IRQn, CS_IRQ_PRIORITY, csd_isr, NULL, 0);
	irq_enable(csd_interrupt_IRQn);

	/* Calibrates and, with SmartSense, auto-tunes every sensor (scans use the IRQ). */
	st = Cy_CapSense_Enable(&cy_capsense_context);
	if (st != CY_CAPSENSE_STATUS_SUCCESS) {
		LOG_ERR("Cy_CapSense_Enable failed (0x%08x)", (unsigned int)st);
		return -EIO;
	}

	Cy_CapSense_RegisterCallback(CY_CAPSENSE_END_OF_SCAN_E, end_of_scan_cb,
				     &cy_capsense_context);
	return 0;
}

/* ---- Input handling --------------------------------------------------------- */

static atomic_t slider_pos = ATOMIC_INIT(-1); /* -1 = not touched */
static atomic_t scans;

static uint32_t slider_to_period_ms(uint32_t pos)
{
	uint32_t f_mhz = FREQ_MIN_MHZ + (FREQ_MAX_MHZ - FREQ_MIN_MHZ) * pos / SLIDER_MAX;

	return CLAMP(1000000U / f_mhz, APP_PERIOD_MIN_MS, APP_PERIOD_MAX_MS);
}

static void handle_inputs(void)
{
	static bool btn0_was, btn1_was;
	static bool slider_used; /* this touch is changing the period */
	static uint32_t last_sent_ms;

	bool btn0 = Cy_CapSense_IsWidgetActive(CY_CAPSENSE_BUTTON0_WDGT_ID, &cy_capsense_context);
	bool btn1 = Cy_CapSense_IsWidgetActive(CY_CAPSENSE_BUTTON1_WDGT_ID, &cy_capsense_context);

	/* Act on the touch, not while it's held. */
	if (btn0 && !btn0_was) {
		LOG_INF("BTN0 touched -> temperature mode");
		(void)led_ctrl_request_mode(LED_MODE_TEMP);
	}
	if (btn1 && !btn1_was) {
		LOG_INF("BTN1 touched -> manual mode");
		(void)led_ctrl_request_mode(LED_MODE_MANUAL);
	}
	btn0_was = btn0;
	btn1_was = btn1;

	const cy_stc_capsense_touch_t *touch =
		Cy_CapSense_GetTouchInfo(CY_CAPSENSE_LINEARSLIDER0_WDGT_ID, &cy_capsense_context);

	if (touch->numPosition == 0U) {
		if (atomic_set(&slider_pos, -1) != -1 && slider_used) {
			LOG_INF("Slider released at %u ms", last_sent_ms);
		}
		slider_used = false;
		return;
	}

	uint32_t pos = touch->ptrPosition[0].x;
	bool new_touch = atomic_set(&slider_pos, pos) == -1;

	/* The slider only sets the manual-mode period. Ask the LED controller's
	 * zbus channel (it always holds the latest status) which mode we're in.
	 */
	struct led_msg led;

	if (zbus_chan_read(&led_chan, &led, K_MSEC(5)) != 0 || !led.manual) {
		if (new_touch) {
			LOG_INF("Slider ignored: not in manual mode (touch BTN1)");
		}
		return;
	}

	uint32_t period = slider_to_period_ms(pos);

	slider_used = true;

	/* Sliding produces a new position every scan; skip tiny changes so the
	 * LED queue isn't flooded. Settings save once, 2 s after the last change.
	 */
	if (last_sent_ms == 0U ||
	    (uint32_t)abs((int)period - (int)last_sent_ms) * 100U >= last_sent_ms * PERIOD_CHANGE_PCT) {
		if (led_ctrl_request_period(period) == 0) {
			last_sent_ms = period;
		}
	}
}

static void capsense_thread(void *p1, void *p2, void *p3)
{
	ARG_UNUSED(p1);
	ARG_UNUSED(p2);
	ARG_UNUSED(p3);

	if (capsense_hw_init() != 0) {
		return;
	}
	LOG_INF("CapSense ready: BTN0 = temp mode, BTN1 = manual mode, slider = blink rate");

	while (true) {
		k_sem_reset(&scan_done);
		if (Cy_CapSense_ScanAllWidgets(&cy_capsense_context) != CY_CAPSENSE_STATUS_SUCCESS) {
			k_msleep(CS_SCAN_PERIOD_MS);
			continue;
		}

		/* The CPU is free while the CSD hardware scans; the ISR wakes us. */
		if (k_sem_take(&scan_done, K_MSEC(100)) != 0) {
			LOG_WRN("CapSense scan timed out");
			continue;
		}

		/* Filters, baselines, thresholds, debounce, slider centroid. */
		Cy_CapSense_ProcessAllWidgets(&cy_capsense_context);
		atomic_inc(&scans);
		handle_inputs();

		k_msleep(CS_SCAN_PERIOD_MS);
	}
}

K_THREAD_DEFINE(capsense_tid, CS_STACK_SIZE, capsense_thread, NULL, NULL, NULL, CS_PRIORITY,
		0, 0);

/* ---- Shell: "capsense" ------------------------------------------------------- */

static const char *const wd_names[CY_CAPSENSE_WIDGET_COUNT] = {"BTN0", "BTN1", "SLIDER"};

static int cmd_capsense(const struct shell *sh, size_t argc, char **argv)
{
	ARG_UNUSED(argc);
	ARG_UNUSED(argv);

	int32_t pos = (int32_t)atomic_get(&slider_pos);

	shell_print(sh, "%u scans, slider %s%d", (uint32_t)atomic_get(&scans),
		    pos < 0 ? "not touched " : "at ", pos < 0 ? 0 : pos);
	if (pos >= 0) {
		shell_print(sh, "  -> period %u ms", slider_to_period_ms(pos));
	}

	/* Per-sensor signal: raw count, baseline (slow average), diff = raw - baseline. */
	for (uint32_t w = 0; w < CY_CAPSENSE_WIDGET_COUNT; w++) {
		const cy_stc_capsense_widget_config_t *wd = &cy_capsense_context.ptrWdConfig[w];

		shell_print(sh, "%-6s %s", wd_names[w],
			    Cy_CapSense_IsWidgetActive(w, &cy_capsense_context) ? "ACTIVE" : "-");
		for (uint32_t s = 0; s < wd->numSns; s++) {
			const cy_stc_capsense_sensor_context_t *sns = &wd->ptrSnsContext[s];

			shell_print(sh, "  sns%u raw %5u bsln %5u diff %5u", s, sns->raw, sns->bsln,
				    sns->diff);
		}
	}
	return 0;
}

SHELL_CMD_REGISTER(capsense, NULL, "Show CapSense widget status and sensor counts", cmd_capsense);
```

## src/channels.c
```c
/*
 * zbus channel definitions. Observers attach themselves from their own
 * modules with ZBUS_CHAN_ADD_OBS(), so this file never needs to change when
 * a new consumer is added.
 *
 * SPDX-License-Identifier: Apache-2.0
 */

#include "channels.h"

#define TEMP_MIN_PLAUSIBLE_CENTI (-4000)
#define TEMP_MAX_PLAUSIBLE_CENTI 12500

/*
 * Runs inside zbus_chan_pub(): returning false rejects the message (-ENOMSG)
 * before any observer sees it. Here: drop physically impossible readings.
 */
static bool temp_msg_validator(const void *msg, size_t msg_size)
{
	const struct temp_msg *m = msg;

	return msg_size == sizeof(*m) && m->centi_c >= TEMP_MIN_PLAUSIBLE_CENTI &&
	       m->centi_c <= TEMP_MAX_PLAUSIBLE_CENTI;
}

ZBUS_CHAN_DEFINE(temp_chan,               /* name */
		 struct temp_msg,         /* message type */
		 temp_msg_validator,      /* validator */
		 NULL,                    /* user data */
		 ZBUS_OBSERVERS_EMPTY,    /* observers are added elsewhere */
		 ZBUS_MSG_INIT(0)         /* initial value: seq 0 = "no reading yet" */
);

ZBUS_CHAN_DEFINE(led_chan,
		 struct led_msg,
		 NULL,                    /* no validator */
		 NULL,
		 ZBUS_OBSERVERS_EMPTY,
		 ZBUS_MSG_INIT(0)         /* temperature mode until the controller publishes */
);
```

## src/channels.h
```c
/*
 * zbus channels shared between modules.
 *
 * A channel is a typed, statically allocated message slot plus a list of
 * observers. Publishers don't know who observes; observers don't know who
 * published. The channel also always holds the latest message, so it can be
 * read at any time.
 *
 * SPDX-License-Identifier: Apache-2.0
 */

#ifndef CHANNELS_H_
#define CHANNELS_H_

#include <stdint.h>
#include <stdlib.h>
#include <zephyr/zbus/zbus.h>

/* Published once per thermistor sample. */
struct temp_msg {
	uint32_t seq;         /* sample number, 0 = no reading yet */
	int32_t centi_c;      /* temperature in hundredths of a degree C */
	uint32_t ntc_ohm;
	uint16_t raw_a;
	uint16_t raw_b;
	int32_t latency_us;   /* counter IRQ -> sample start, -1 if not timer-triggered */
	int64_t timestamp_ms; /* k_uptime_get() when sampled */
};

ZBUS_CHAN_DECLARE(temp_chan);

/* Published by the LED controller whenever its mode, state or periods change. */
struct led_msg {
	uint8_t manual;            /* 1 = manual mode, 0 = temperature mode */
	char state[8];             /* "COLD", "NORMAL", "HOT", "MANUAL" */
	uint32_t blink_ms;         /* current toggle interval, 0 = solid on */
	uint32_t manual_period_ms; /* period used in manual mode */
};

ZBUS_CHAN_DECLARE(led_chan);

/* printf helpers for centi-degree values: printk(CENTI_FMT " C", CENTI_ARGS(v)) */
#define CENTI_FMT       "%s%d.%02d"
#define CENTI_ARGS(v)   ((v) < 0 ? "-" : ""), abs(v) / 100, abs(v) % 100

#endif /* CHANNELS_H_ */
```

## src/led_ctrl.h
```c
/*
 * LED controller: a hierarchical state machine (Zephyr SMF) that decides how
 * LED0 behaves from the temperature, the user's blink period and the mode.
 *
 * SPDX-License-Identifier: Apache-2.0
 */

#ifndef LED_CTRL_H_
#define LED_CTRL_H_

#include <stdint.h>

enum led_mode {
	LED_MODE_TEMP,   /* LED follows the temperature (COLD / NORMAL / HOT) */
	LED_MODE_MANUAL, /* LED always blinks at the user period */
};

/** Configure the LED pin and start the controller thread. */
int led_ctrl_start(void);

/* Requests are queued to the controller thread; safe to call from any thread
 * (not from ISRs that can't tolerate a failed put). Return -ENOMSG if full.
 */
int led_ctrl_request_period(uint32_t period_ms);
int led_ctrl_request_mode(enum led_mode mode);

#endif /* LED_CTRL_H_ */
```
